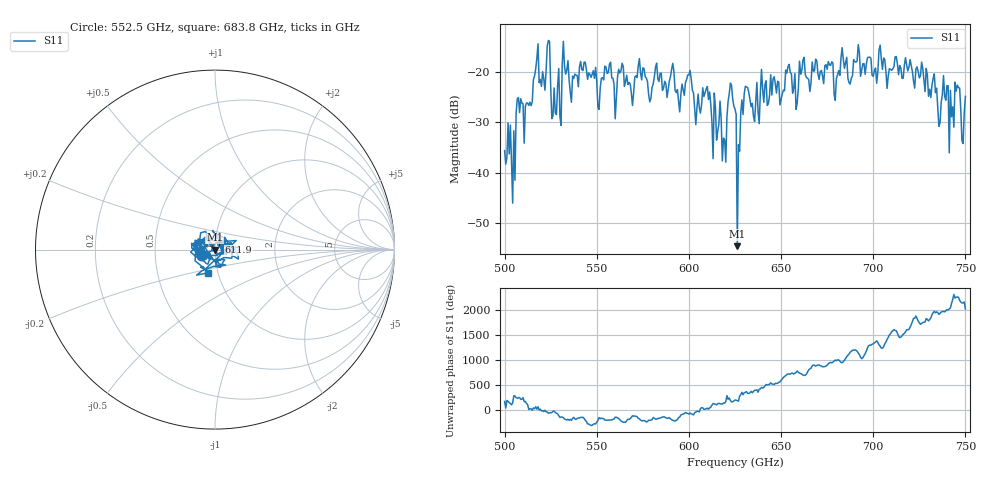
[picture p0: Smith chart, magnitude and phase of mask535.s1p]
!Created with skrf (http://scikit-rf.org).
# GHz S MA R 50.0
!freq magS11 angS11
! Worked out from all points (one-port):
!   401 points, 500 GHz to 750 GHz, reference 50 ohm
!   lowest |S11| = -54.6 dB at 626.2 GHz (marker M1), VSWR 1.00, Z = 49.8 - j0.0347 ohm
!   |S11| at or under -10 dB: start of sweep to end of sweep
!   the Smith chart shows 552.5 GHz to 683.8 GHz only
!   S11 on the Smith chart (normalised r, x): 552.5 GHz: 0.85, -0.06; 611.9 GHz: 1.04, +0.09; 683.8 GHz: 0.90, -0.24
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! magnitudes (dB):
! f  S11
! 500 GHz  -35.6
! 505 GHz  -31.6
! 507.5 GHz  -25.0
! 511.9 GHz  -26.1
! 516.9 GHz  -19.3
! 523.8 GHz  -13.7
! 526.9 GHz  -23.1
! 531.2 GHz  -18.5
! 552.5 GHz  -21.2
! 562.5 GHz  -20.2
! 590.6 GHz  -19.4
! 593.8 GHz  -23.5
! 600 GHz  -20.6
! 611.9 GHz  -26.5
! 619.4 GHz  -33.4
! 623.1 GHz  -22.6
! 625 GHz  -27.3
! 626.2 GHz  -54.6
! 631.2 GHz  -22.9
! 635 GHz  -28.7
! 656.2 GHz  -24.2
! 683.8 GHz  -17.4
! 687.5 GHz  -22.4
! 718.8 GHz  -19.7
! 736.2 GHz  -30.1
! 742.5 GHz  -28.9
! 745.6 GHz  -22.6
! 750 GHz  -24.8
